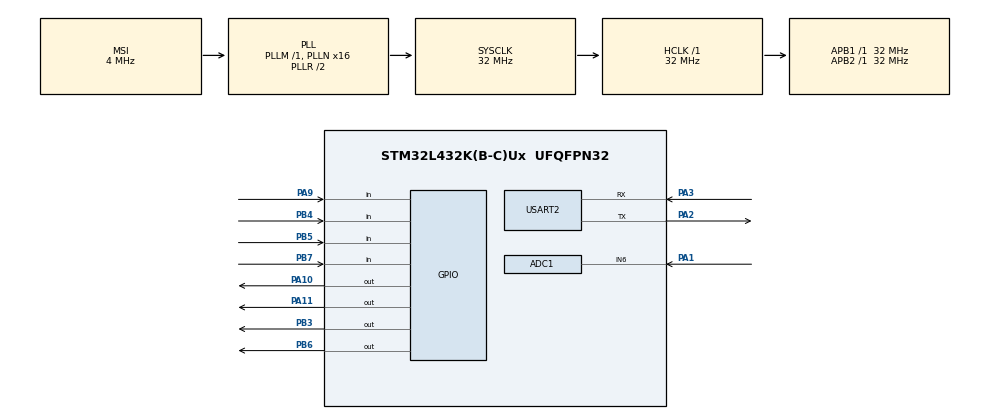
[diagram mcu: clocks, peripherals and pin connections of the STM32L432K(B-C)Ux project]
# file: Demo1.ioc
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ADC1.Channel-0\#ChannelRegularConversion=ADC_CHANNEL_6
ADC1.ClockPrescaler=ADC_CLOCK_ASYNC_DIV1
ADC1.ContinuousConvMode=DISABLE
ADC1.DMAContinuousRequests=DISABLE
ADC1.DataAlign=ADC_DATAALIGN_RIGHT
ADC1.DiscontinuousConvMode=DISABLE
ADC1.EOCSelection=ADC_EOC_SINGLE_CONV
ADC1.EnableAnalogWatchDog1=false
ADC1.EnableAnalogWatchDog2=false
ADC1.EnableAnalogWatchDog3=false
ADC1.EnableInjectedConversion=DISABLE
ADC1.EnableRegularConversion=ENABLE
ADC1.ExternalTrigConv=ADC_SOFTWARE_START
ADC1.ExternalTrigConvEdge=ADC_EXTERNALTRIGCONVEDGE_NONE
ADC1.LowPowerAutoWait=DISABLE
ADC1.NbrOfConversion=1
ADC1.NbrOfConversionFlag=1
ADC1.OffsetNumber-0\#ChannelRegularConversion=ADC_OFFSET_NONE
ADC1.Overrun=ADC_OVR_DATA_PRESERVED
ADC1.OversamplingMode=DISABLE
ADC1.Rank-0\#ChannelRegularConversion=1
ADC1.Resolution=ADC_RESOLUTION_12B
ADC1.SamplingTime-0\#ChannelRegularConversion=ADC_SAMPLETIME_2CYCLES_5
ADC1.ScanConvMode=ADC_SCAN_DISABLE
ADC1.master=1
Mcu.Family=STM32L4
Mcu.Name=STM32L432K(B-C)Ux
Mcu.Package=UFQFPN32
NVIC.PriorityGroup=NVIC_PRIORITYGROUP_4
PA1.Signal=ADCx_IN6
PA10.Signal=GPIO_Output
PA11.Signal=GPIO_Output
PA13\ (JTMS-SWDIO).Mode=Serial_Wire
PA13\ (JTMS-SWDIO).Signal=SYS_JTMS-SWDIO
PA14\ (JTCK-SWCLK).Mode=Serial_Wire
PA14\ (JTCK-SWCLK).Signal=SYS_JTCK-SWCLK
PA2.Mode=Asynchronous
PA2.Signal=USART2_TX
PA3.Mode=Asynchronous
PA3.Signal=USART2_RX
PA9.Signal=GPIO_Input
PB3\ (JTDO-TRACESWO).Signal=GPIO_Output
PB4\ (NJTRST).Signal=GPIO_Input
PB5.Signal=GPIO_Input
PB6.Signal=GPIO_Output
PB7.Signal=GPIO_Input
PC14-OSC32_IN\ (PC14).Mode=LSE-External-Oscillator
PC14-OSC32_IN\ (PC14).Signal=RCC_OSC32_IN
PC15-OSC32_OUT\ (PC15).Mode=LSE-External-Oscillator
PC15-OSC32_OUT\ (PC15).Signal=RCC_OSC32_OUT
ProjectManager.HeapSize=0x200
ProjectManager.StackSize=0x400
ProjectManager.TargetToolchain=MDK-ARM V5
RCC.ADCFreq_Value=32000000
RCC.AHBFreq_Value=32000000
RCC.APB1Freq_Value=32000000
RCC.APB1TimFreq_Value=32000000
RCC.APB2Freq_Value=32000000
RCC.APB2TimFreq_Value=32000000
RCC.CortexFreq_Value=32000000
RCC.HCLKFreq_Value=32000000
RCC.HSE_VALUE=8000000
RCC.HSI48_VALUE=48000000
RCC.HSI_VALUE=16000000
RCC.MSI_VALUE=4000000
RCC.PLLN=16
RCC.PLLSAI1N=16
RCC.SYSCLKFreq_VALUE=32000000
RCC.SYSCLKSource=RCC_SYSCLKSOURCE_PLLCLK
RCC.USBFreq_Value=32000000
RCC.VCOOutputFreq_Value=64000000
SH.ADCx_IN6.0=ADC1_IN6,IN6-Single-Ended
USART2.VirtualMode-Asynchronous=VM_ASYNC
board=custom

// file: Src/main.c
/**
  ******************************************************************************
  * @file           : main.c
  * @brief          : Main program body
  ******************************************************************************
  ** This notice applies to any and all portions of this file
  * that are not between comment pairs USER CODE BEGIN and
  * USER CODE END. Other portions of this file, whether
  * inserted by the user or by software development tools
  * are owned by their respective copyright owners.
  *
  * COPYRIGHT(c) 2022 STMicroelectronics
  *
  * Redistribution and use in source and binary forms, with or without modification,
  * are permitted provided that the following conditions are met:
  *   1. Redistributions of source code must retain the above copyright notice,
  *      this list of conditions and the following disclaimer.
  *   2. Redistributions in binary form must reproduce the above copyright notice,
  *      this list of conditions and the following disclaimer in the documentation
  *      and/or other materials provided with the distribution.
  *   3. Neither the name of STMicroelectronics nor the names of its contributors
  *      may be used to endorse or promote products derived from this software
  *      without specific prior written permission.
  *
  * THIS SOFTWARE IS PROVIDED BY THE COPYRIGHT HOLDERS AND CONTRIBUTORS "AS IS"
  * AND ANY EXPRESS OR IMPLIED WARRANTIES, INCLUDING, BUT NOT LIMITED TO, THE
  * IMPLIED WARRANTIES OF MERCHANTABILITY AND FITNESS FOR A PARTICULAR PURPOSE ARE
  * DISCLAIMED. IN NO EVENT SHALL THE COPYRIGHT HOLDER OR CONTRIBUTORS BE LIABLE
  * FOR ANY DIRECT, INDIRECT, INCIDENTAL, SPECIAL, EXEMPLARY, OR CONSEQUENTIAL
  * DAMAGES (INCLUDING, BUT NOT LIMITED TO, PROCUREMENT OF SUBSTITUTE GOODS OR
  * SERVICES; LOSS OF USE, DATA, OR PROFITS; OR BUSINESS INTERRUPTION) HOWEVER
  * CAUSED AND ON ANY THEORY OF LIABILITY, WHETHER IN CONTRACT, STRICT LIABILITY,
  * OR TORT (INCLUDING NEGLIGENCE OR OTHERWISE) ARISING IN ANY WAY OUT OF THE USE
  * OF THIS SOFTWARE, EVEN IF ADVISED OF THE POSSIBILITY OF SUCH DAMAGE.
  *
  ******************************************************************************
  */
#include "main.h"
#include "stm32l4xx_hal.h"

/* USER CODE BEGIN Includes */
#include "stdio.h"
#include "stdlib.h"
#include "string.h"
/* USER CODE END Includes */

ADC_HandleTypeDef hadc1;

UART_HandleTypeDef huart2;

/* USER CODE BEGIN PV */
/* Private variables ---------------------------------------------------------*/
#define MAX_VOLTAGE 4095
/* USER CODE END PV */

void SystemClock_Config(void);
static void MX_GPIO_Init(void);
static void MX_ADC1_Init(void);
static void MX_USART2_UART_Init(void);

/* USER CODE BEGIN PFP */
/* Private function prototypes -----------------------------------------------*/

/* USER CODE END PFP */

/* USER CODE BEGIN 0 */
int raw;
uint8_t uartBuff[100];
/* USER CODE END 0 */

int main(void)
{

  /* MCU Configuration----------------------------------------------------------*/

  /* Reset of all peripherals, Initializes the Flash interface and the Systick. */
  HAL_Init();

  /* Configure the system clock */
  SystemClock_Config();

  /* Initialize all configured peripherals */
  MX_GPIO_Init();
  MX_ADC1_Init();
  MX_USART2_UART_Init();
  /* USER CODE BEGIN 2 */
//HAL_ADCEx_Calibration_Start(&hadc1, ADC_CHANNEL_2);
  /* USER CODE END 2 */

  /* Infinite loop */
  while (1)
  {

  /* USER CODE BEGIN 3 */
//		HAL_GPIO_WritePin(GPIOA,GPIO_PIN_6, 1);
//		HAL_Delay(100);
//		HAL_GPIO_WritePin(GPIOA,GPIO_PIN_6, 0);
//		HAL_Delay(100);

			 HAL_ADC_Start(&hadc1);
	  HAL_ADC_PollForConversion(&hadc1, HAL_MAX_DELAY);
	  raw = HAL_ADC_GetValue(&hadc1);
	  sprintf((char*) uartBuff,"%d\r\n", raw);
	  HAL_UART_Transmit(&huart2, uartBuff, sizeof(uartBuff), HAL_MAX_DELAY);

			int y= HAL_GPIO_ReadPin(GPIOB,GPIO_PIN_4);
	if(!y)
	{
		 raw = HAL_ADC_GetValue(&hadc1);
		 if ((raw/100) <= 3){
		  HAL_GPIO_WritePin(GPIOB, GPIO_PIN_3, 0);
	  }
	  else{
		  HAL_GPIO_WritePin(GPIOB, GPIO_PIN_3, 1);
	  }
		//HAL_GPIO_WritePin(GPIOA,GPIO_PIN_8,1);
		//HAL_UART_Transmit(&huart2, (uint8_t *) "Detect", sizeof("Detect"), HAL_MAX_DELAY);
			HAL_Delay(200);
	}
		else
	{
		HAL_GPIO_WritePin(GPIOB,GPIO_PIN_3,0);
		HAL_Delay(200);
	}

	//SECOND SENSOR
		int y2= HAL_GPIO_ReadPin(GPIOB,GPIO_PIN_5);
	if(!y2)
	{
		 raw = HAL_ADC_GetValue(&hadc1);
		 if ((raw/100) <= 3){
		  HAL_GPIO_WritePin(GPIOB, GPIO_PIN_6, 0);
	  }
	  else{
		  HAL_GPIO_WritePin(GPIOB, GPIO_PIN_6, 1);
	  }
		//HAL_GPIO_WritePin(GPIOA,GPIO_PIN_8,1);
		//HAL_UART_Transmit(&huart2, (uint8_t *) "Detect", sizeof("Detect"), HAL_MAX_DELAY);
			HAL_Delay(200);
	}
		else
	{
		HAL_GPIO_WritePin(GPIOB,GPIO_PIN_6,0);
		HAL_Delay(200);
	}

	//THIRD SENSOR
		int y3= HAL_GPIO_ReadPin(GPIOB,GPIO_PIN_7);
	if(!y3)
	{
		 raw = HAL_ADC_GetValue(&hadc1);
		 if ((raw/100) <= 3){
		  HAL_GPIO_WritePin(GPIOA, GPIO_PIN_10, 0);
	  }
	  else{
		  HAL_GPIO_WritePin(GPIOA, GPIO_PIN_10, 1);
	  }
		//HAL_GPIO_WritePin(GPIOA,GPIO_PIN_8,1);
		//HAL_UART_Transmit(&huart2, (uint8_t *) "Detect", sizeof("Detect"), HAL_MAX_DELAY);
			HAL_Delay(200);
	}
		else
	{
		HAL_GPIO_WritePin(GPIOA,GPIO_PIN_10,0);
		HAL_Delay(200);
	}

	//fourth sensor

		int y4= HAL_GPIO_ReadPin(GPIOA,GPIO_PIN_9);
	if(!y4)
	{
		 raw = HAL_ADC_GetValue(&hadc1);
		 if ((raw/100) <= 3){
		  HAL_GPIO_WritePin(GPIOA, GPIO_PIN_11, 0);
	  }
	  else{
		  HAL_GPIO_WritePin(GPIOA, GPIO_PIN_11, 1);
	  }
		//HAL_GPIO_WritePin(GPIOA,GPIO_PIN_8,1);
		//HAL_UART_Transmit(&huart2, (uint8_t *) "Detect", sizeof("Detect"), HAL_MAX_DELAY);
			HAL_Delay(200);
	}
		else
	{
		HAL_GPIO_WritePin(GPIOA,GPIO_PIN_11,0);
		HAL_Delay(200);
	}

  }
  /* USER CODE END 3 */

}

void SystemClock_Config(void)
{

  RCC_OscInitTypeDef RCC_OscInitStruct;
  RCC_ClkInitTypeDef RCC_ClkInitStruct;
  RCC_PeriphCLKInitTypeDef PeriphClkInit;

    /**Configure LSE Drive Capability
    */
  HAL_PWR_EnableBkUpAccess();

  __HAL_RCC_LSEDRIVE_CONFIG(RCC_LSEDRIVE_LOW);

    /**Initializes the CPU, AHB and APB busses clocks
    */
  RCC_OscInitStruct.OscillatorType = RCC_OSCILLATORTYPE_LSE|RCC_OSCILLATORTYPE_MSI;
  RCC_OscInitStruct.LSEState = RCC_LSE_ON;
  RCC_OscInitStruct.MSIState = RCC_MSI_ON;
  RCC_OscInitStruct.MSICalibrationValue = 0;
  RCC_OscInitStruct.MSIClockRange = RCC_MSIRANGE_6;
  RCC_OscInitStruct.PLL.PLLState = RCC_PLL_ON;
  RCC_OscInitStruct.PLL.PLLSource = RCC_PLLSOURCE_MSI;
  RCC_OscInitStruct.PLL.PLLM = 1;
  RCC_OscInitStruct.PLL.PLLN = 16;
  RCC_OscInitStruct.PLL.PLLP = RCC_PLLP_DIV7;
  RCC_OscInitStruct.PLL.PLLQ = RCC_PLLQ_DIV2;
  RCC_OscInitStruct.PLL.PLLR = RCC_PLLR_DIV2;
  if (HAL_RCC_OscConfig(&RCC_OscInitStruct) != HAL_OK)
  {
    _Error_Handler(__FILE__, __LINE__);
  }

    /**Initializes the CPU, AHB and APB busses clocks
    */
  RCC_ClkInitStruct.ClockType = RCC_CLOCKTYPE_HCLK|RCC_CLOCKTYPE_SYSCLK
                              |RCC_CLOCKTYPE_PCLK1|RCC_CLOCKTYPE_PCLK2;
  RCC_ClkInitStruct.SYSCLKSource = RCC_SYSCLKSOURCE_PLLCLK;
  RCC_ClkInitStruct.AHBCLKDivider = RCC_SYSCLK_DIV1;
  RCC_ClkInitStruct.APB1CLKDivider = RCC_HCLK_DIV1;
  RCC_ClkInitStruct.APB2CLKDivider = RCC_HCLK_DIV1;

  if (HAL_RCC_ClockConfig(&RCC_ClkInitStruct, FLASH_LATENCY_1) != HAL_OK)
  {
    _Error_Handler(__FILE__, __LINE__);
  }

  PeriphClkInit.PeriphClockSelection = RCC_PERIPHCLK_USART2|RCC_PERIPHCLK_ADC;
  PeriphClkInit.Usart2ClockSelection = RCC_USART2CLKSOURCE_PCLK1;
  PeriphClkInit.AdcClockSelection = RCC_ADCCLKSOURCE_PLLSAI1;
  PeriphClkInit.PLLSAI1.PLLSAI1Source = RCC_PLLSOURCE_MSI;
  PeriphClkInit.PLLSAI1.PLLSAI1M = 1;
  PeriphClkInit.PLLSAI1.PLLSAI1N = 16;
  PeriphClkInit.PLLSAI1.PLLSAI1P = RCC_PLLP_DIV7;
  PeriphClkInit.PLLSAI1.PLLSAI1Q = RCC_PLLQ_DIV2;
  PeriphClkInit.PLLSAI1.PLLSAI1R = RCC_PLLR_DIV2;
  PeriphClkInit.PLLSAI1.PLLSAI1ClockOut = RCC_PLLSAI1_ADC1CLK;
  if (HAL_RCCEx_PeriphCLKConfig(&PeriphClkInit) != HAL_OK)
  {
    _Error_Handler(__FILE__, __LINE__);
  }

    /**Configure the main internal regulator output voltage
    */
  if (HAL_PWREx_ControlVoltageScaling(PWR_REGULATOR_VOLTAGE_SCALE1) != HAL_OK)
  {
    _Error_Handler(__FILE__, __LINE__);
  }

    /**Configure the Systick interrupt time
    */
  HAL_SYSTICK_Config(HAL_RCC_GetHCLKFreq()/1000);

    /**Configure the Systick
    */
  HAL_SYSTICK_CLKSourceConfig(SYSTICK_CLKSOURCE_HCLK);

    /**Enable MSI Auto calibration
    */
  HAL_RCCEx_EnableMSIPLLMode();

  /* SysTick_IRQn interrupt configuration */
  HAL_NVIC_SetPriority(SysTick_IRQn, 0, 0);
}

/* ADC1 init function */
static void MX_ADC1_Init(void)
{

  ADC_ChannelConfTypeDef sConfig;

    /**Common config
    */
  hadc1.Instance = ADC1;
  hadc1.Init.ClockPrescaler = ADC_CLOCK_ASYNC_DIV1;
  hadc1.Init.Resolution = ADC_RESOLUTION_12B;
  hadc1.Init.DataAlign = ADC_DATAALIGN_RIGHT;
  hadc1.Init.ScanConvMode = ADC_SCAN_DISABLE;
  hadc1.Init.EOCSelection = ADC_EOC_SINGLE_CONV;
  hadc1.Init.LowPowerAutoWait = DISABLE;
  hadc1.Init.ContinuousConvMode = DISABLE;
  hadc1.Init.NbrOfConversion = 1;
  hadc1.Init.DiscontinuousConvMode = DISABLE;
  hadc1.Init.ExternalTrigConv = ADC_SOFTWARE_START;
  hadc1.Init.ExternalTrigConvEdge = ADC_EXTERNALTRIGCONVEDGE_NONE;
  hadc1.Init.DMAContinuousRequests = DISABLE;
  hadc1.Init.Overrun = ADC_OVR_DATA_PRESERVED;
  hadc1.Init.OversamplingMode = DISABLE;
  if (HAL_ADC_Init(&hadc1) != HAL_OK)
  {
    _Error_Handler(__FILE__, __LINE__);
  }

    /**Configure Regular Channel
    */
  sConfig.Channel = ADC_CHANNEL_6;
  sConfig.Rank = ADC_REGULAR_RANK_1;
  sConfig.SamplingTime = ADC_SAMPLETIME_2CYCLES_5;
  sConfig.SingleDiff = ADC_SINGLE_ENDED;
  sConfig.OffsetNumber = ADC_OFFSET_NONE;
  sConfig.Offset = 0;
  if (HAL_ADC_ConfigChannel(&hadc1, &sConfig) != HAL_OK)
  {
    _Error_Handler(__FILE__, __LINE__);
  }

}

/* USART2 init function */
static void MX_USART2_UART_Init(void)
{

  huart2.Instance = USART2;
  huart2.Init.BaudRate = 115200;
  huart2.Init.WordLength = UART_WORDLENGTH_8B;
  huart2.Init.StopBits = UART_STOPBITS_1;
  huart2.Init.Parity = UART_PARITY_NONE;
  huart2.Init.Mode = UART_MODE_TX_RX;
  huart2.Init.HwFlowCtl = UART_HWCONTROL_NONE;
  huart2.Init.OverSampling = UART_OVERSAMPLING_16;
  huart2.Init.OneBitSampling = UART_ONE_BIT_SAMPLE_DISABLE;
  huart2.AdvancedInit.AdvFeatureInit = UART_ADVFEATURE_NO_INIT;
  if (HAL_UART_Init(&huart2) != HAL_OK)
  {
    _Error_Handler(__FILE__, __LINE__);
  }

}

/** Configure pins as
        * Analog
        * Input
        * Output
        * EVENT_OUT
        * EXTI
*/
static void MX_GPIO_Init(void)
{

  GPIO_InitTypeDef GPIO_InitStruct;

  /* GPIO Ports Clock Enable */
  __HAL_RCC_GPIOC_CLK_ENABLE();
  __HAL_RCC_GPIOA_CLK_ENABLE();
  __HAL_RCC_GPIOB_CLK_ENABLE();

  /*Configure GPIO pin Output Level */
  HAL_GPIO_WritePin(GPIOA, GPIO_PIN_10|GPIO_PIN_11, GPIO_PIN_RESET);

  /*Configure GPIO pin Output Level */
  HAL_GPIO_WritePin(GPIOB, GPIO_PIN_3|GPIO_PIN_6, GPIO_PIN_RESET);

  /*Configure GPIO pin : PA9 */
  GPIO_InitStruct.Pin = GPIO_PIN_9;
  GPIO_InitStruct.Mode = GPIO_MODE_INPUT;
  GPIO_InitStruct.Pull = GPIO_NOPULL;
  HAL_GPIO_Init(GPIOA, &GPIO_InitStruct);

  /*Configure GPIO pins : PA10 PA11 */
  GPIO_InitStruct.Pin = GPIO_PIN_10|GPIO_PIN_11;
  GPIO_InitStruct.Mode = GPIO_MODE_OUTPUT_PP;
  GPIO_InitStruct.Pull = GPIO_NOPULL;
  GPIO_InitStruct.Speed = GPIO_SPEED_FREQ_LOW;
  HAL_GPIO_Init(GPIOA, &GPIO_InitStruct);

  /*Configure GPIO pins : PB3 PB6 */
  GPIO_InitStruct.Pin = GPIO_PIN_3|GPIO_PIN_6;
  GPIO_InitStruct.Mode = GPIO_MODE_OUTPUT_PP;
  GPIO_InitStruct.Pull = GPIO_NOPULL;
  GPIO_InitStruct.Speed = GPIO_SPEED_FREQ_LOW;
  HAL_GPIO_Init(GPIOB, &GPIO_InitStruct);

  /*Configure GPIO pins : PB4 PB5 PB7 */
  GPIO_InitStruct.Pin = GPIO_PIN_4|GPIO_PIN_5|GPIO_PIN_7;
  GPIO_InitStruct.Mode = GPIO_MODE_INPUT;
  GPIO_InitStruct.Pull = GPIO_NOPULL;
  HAL_GPIO_Init(GPIOB, &GPIO_InitStruct);

}

void _Error_Handler(char *file, int line)
{
  while(1)
  {
  }
}

/************************ (C) COPYRIGHT STMicroelectronics *****END OF FILE****/
